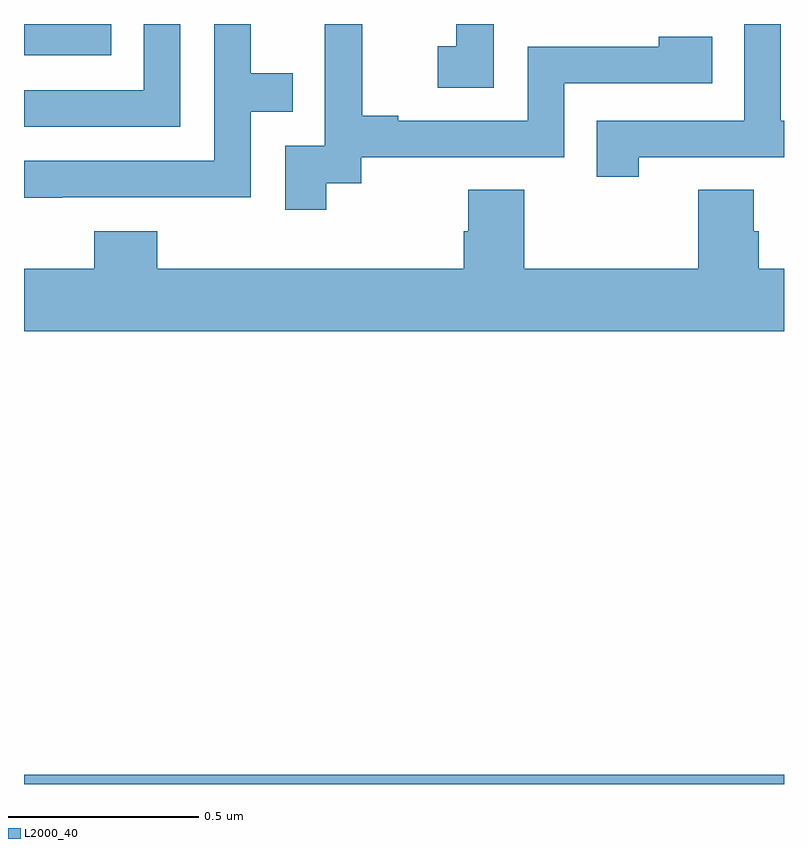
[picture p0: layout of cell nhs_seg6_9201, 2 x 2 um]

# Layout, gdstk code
import gdstk
lib = gdstk.Library(unit=1e-6, precision=1e-09)
def R(c, l, rs):  # rectangles x0, y0, x1, y1
    for r in rs: c.add(gdstk.rectangle(r[:2], r[2:], *l))
def P(c, l, *ps):  # polygons
    for p in ps: c.add(gdstk.Polygon(p, *l))
L2000_40 = (2000, 40)

nhs_seg6_9201 = lib.new_cell('nhs_seg6_9201')
R(nhs_seg6_9201, L2000_40, [(231,923.5,233,923.524), (231,925.418,231.23,925.5)])
P(nhs_seg6_9201, L2000_40, [(231.411,925.5),(231.315,925.5),(231.315,925.326),(231,925.326),(231,925.23),(231.411,925.23)],
  [(231.101,925.044),(231.597,925.044),(231.597,925.269),(231.707,925.269),(231.707,925.37),(231.597,925.37),(231.597,925.5),(231.501,925.5),(231.501,925.14),(231,925.14),(231,925.043),(231.101,925.043)],
  [(232.236,925.5),(232.138,925.5),(232.138,925.441),(232.089,925.441),(232.089,925.332),(232.236,925.332)],
  [(232.618,925.149),(233,925.149),(233,925.245),(232.992,925.245),(232.992,925.5),(232.896,925.5),(232.896,925.245),(232.507,925.245),(232.507,925.098),(232.618,925.098)],
  [(231.796,925.081),(231.888,925.081),(231.888,925.149),(232.422,925.149),(232.422,925.344),(232.811,925.344),(232.811,925.467),(232.671,925.467),(232.671,925.44),(232.326,925.44),(232.326,925.245),(231.985,925.245),(231.985,925.258),(231.89,925.258),(231.89,925.5),(231.791,925.5),(231.791,925.409),(231.792,925.409),(231.792,925.179),(231.687,925.179),(231.687,925.011),(231.796,925.011)],
  [(233,924.856),(232.934,924.856),(232.934,924.954),(232.921,924.954),(232.921,925.064),(232.774,925.064),(232.774,924.856),(232.317,924.856),(232.317,925.064),(232.169,925.064),(232.169,924.954),(232.157,924.954),(232.157,924.856),(231.35,924.856),(231.35,924.955),(231.185,924.955),(231.185,924.856),(231,924.856),(231,924.692),(233,924.692)])

lib.write_gds('nhs_seg6_9201.gds')
